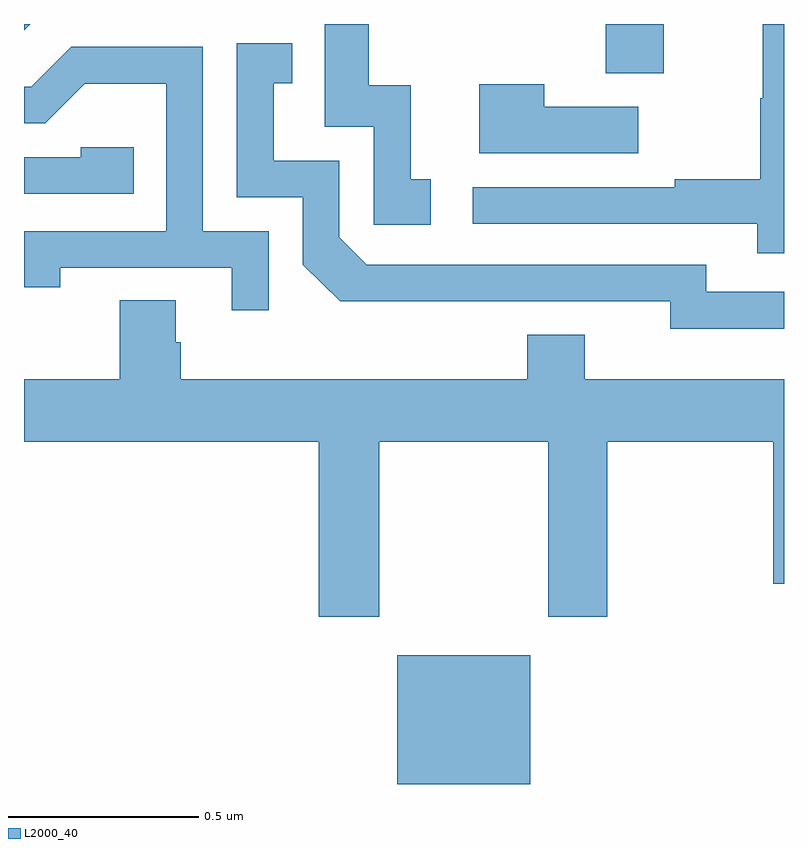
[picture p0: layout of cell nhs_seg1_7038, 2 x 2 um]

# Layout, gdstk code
import gdstk
lib = gdstk.Library(unit=1e-6, precision=1e-09)
def R(c, l, rs):  # rectangles x0, y0, x1, y1
    for r in rs: c.add(gdstk.rectangle(r[:2], r[2:], *l))
def P(c, l, *ps):  # polygons
    for p in ps: c.add(gdstk.Polygon(p, *l))
L2000_40 = (2000, 40)

nhs_seg1_7038 = lib.new_cell('nhs_seg1_7038')
R(nhs_seg1_7038, L2000_40, [(199.982,516.199,200.332,516.538), (200.531,518.07,200.683,518.199)])
P(nhs_seg1_7038, L2000_40, [(201,518.199),(200.944,518.199),(200.944,518.004),(200.937,518.004),(200.937,517.79),(200.713,517.79),(200.713,517.77),(200.181,517.77),(200.181,517.674),(200.929,517.674),(200.929,517.596),(201,517.596)],
  [(199.017,518.199),(199,518.199),(199,518.182)],
  [(200.071,517.791),(200.018,517.791),(200.018,518.038),(199.907,518.038),(199.907,518.199),(199.791,518.199),(199.791,517.929),(199.92,517.929),(199.92,517.671),(200.071,517.671)],
  [(201,517.494),(200.796,517.494),(200.796,517.566),(199.902,517.566),(199.83,517.638),(199.83,517.839),(199.657,517.839),(199.657,518.043),(199.706,518.043),(199.706,518.149),(199.56,518.149),(199.56,517.743),(199.734,517.743),(199.734,517.566),(199.832,517.469),(200.24,517.469),(200.24,517.47),(200.7,517.47),(200.7,517.397),(201,517.397)],
  [(199.644,517.653),(199.47,517.653),(199.47,518.139),(199.124,518.139),(199.019,518.034),(199,518.034),(199,517.938),(199.056,517.938),(199.16,518.042),(199.374,518.042),(199.374,517.653),(199,517.653),(199,517.506),(199.096,517.506),(199.096,517.557),(199.547,517.557),(199.547,517.446),(199.644,517.446)],
  [(200.617,517.981),(200.369,517.981),(200.369,518.041),(200.198,518.041),(200.198,517.859),(200.617,517.859)],
  [(199.289,517.875),(199.149,517.875),(199.149,517.848),(199,517.848),(199,517.752),(199.289,517.752)],
  [(199.935,517.1),(200.38,517.1),(200.38,516.639),(200.535,516.639),(200.535,517.1),(200.972,517.1),(200.972,516.726),(201,516.726),(201,517.264),(200.476,517.264),(200.476,517.381),(200.324,517.381),(200.324,517.264),(199.412,517.264),(199.412,517.362),(199.399,517.362),(199.399,517.472),(199.252,517.472),(199.252,517.264),(199,517.264),(199,517.1),(199.775,517.1),(199.775,516.639),(199.935,516.639)])

lib.write_gds('nhs_seg1_7038.gds')
